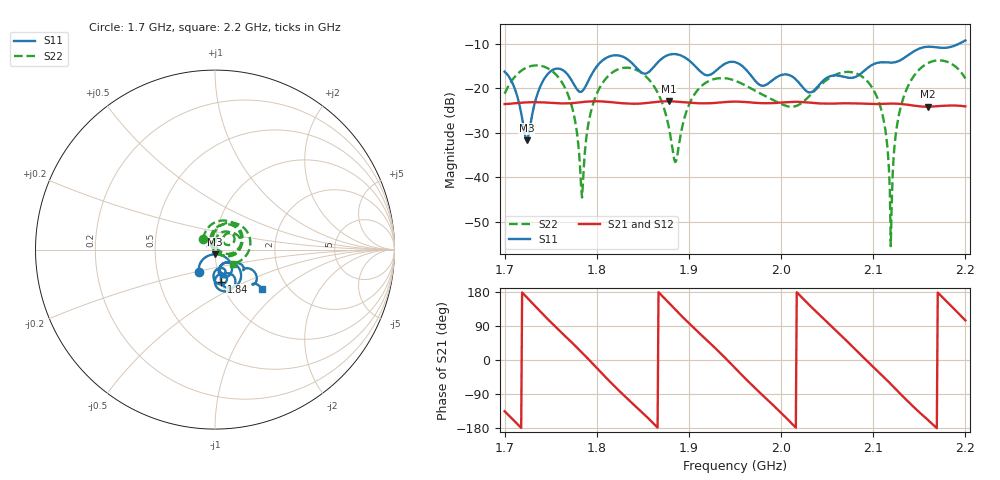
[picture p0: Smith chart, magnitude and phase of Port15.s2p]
# Hz S RI R 50
! CMT, CMT808U, 21440046, 21.4.3/4
! Date: 12/13/2025 11:01:59 PM
! Data: Format (Calibration Info)
! Freq	S11:Re/Im(F2)	S41:Re/Im(F2)	S14:Re/Im(F2)	S44:Re/Im(F2)
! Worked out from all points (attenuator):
!   501 points, 1.7 GHz to 2.2 GHz, reference 50 ohm
!   highest |S21| = -22.94 dB at 1.878 GHz (marker M1); lowest = -24.2 dB at 2.159 GHz (marker M2)
!   lowest |S11| = -31.7 dB at 1.724 GHz (marker M3), VSWR 1.05, Z = 50 - j2.6 ohm
!   |S11| at or under -10 dB: start of sweep to 2.193 GHz
!   |S22| runs from -55.5 to -13.8 dB; largest |S21 - S12| = 0.00036
!   S11 on the Smith chart (normalised r, x): 1.7 GHz: 0.82, -0.21; 1.84 GHz: 1.00, -0.37; 2.2 GHz: 1.49, -0.75
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1.7e9  -0.087 -0.1261  -0.0472 -0.0467  -0.0469 -0.0466  -0.0643 0.0582
1.724e9  0.000189 -0.026  -0.0671 0.0173  -0.067 0.0171  0.0531 0.1622
1.743e9  0.0922 -0.0879  -0.0318 0.0615  -0.0318 0.0612  0.1492 0.0897
1.766e9  0.0337 -0.1476  0.0313 0.0596  0.0312 0.0595  0.0941 -0.0295
1.776e9  0.023 -0.1044  0.0531 0.043  0.0529 0.043  0.0342 -0.0302
1.784e9  0.0545 -0.0744  0.0657 0.0235  0.0655 0.0236  -0.00484 -0.00342
1.801e9  0.1394 -0.1148  0.0652 -0.0286  0.0652 -0.0284  -0.0182 0.0895
1.84e9  0.034 -0.18  -0.0308 -0.0593  -0.0306 -0.0593  0.1457 0.0773
1.867e9  0.1122 -0.1639  -0.0706 0.0012  -0.0705 0.001  0.0821 -0.0229
1.878e9  0.0983 -0.2152  -0.0624 0.0345  -0.0623 0.0342  0.0346 -0.014
1.886e9  0.0631 -0.2324  -0.0463 0.0534  -0.0465 0.0532  0.011 0.0104
1.908e9  -0.00069 -0.1714  0.0136 0.0664  0.0135 0.0663  0.0245 0.0879
1.95e9  0.0286 -0.1939  0.0661 -0.0254  0.066 -0.0252  0.1085 0.0551
2.034e9  0.0556 -0.0725  -0.0502 0.0466  -0.0503 0.0464  0.049 0.0733
2.094e9  0.1474 -0.083  0.0665 -0.00497  0.0664 -0.00468  0.116 -0.0239
2.11e9  0.159 -0.1137  0.0498 -0.0442  0.05 -0.0441  0.0397 -0.0315
2.117e9  0.1571 -0.1138  0.0351 -0.0572  0.0352 -0.057  0.00863 -0.00924
2.12e9  0.1587 -0.1111  0.0276 -0.0613  0.0277 -0.0611  -0.00143 0.00444
2.125e9  0.1663 -0.1061  0.0136 -0.0657  0.0138 -0.0656  -0.0121 0.0312
2.133e9  0.1896 -0.105  -0.00935 -0.0654  -0.00911 -0.0654  -0.0104 0.0789
2.159e9  0.2263 -0.1841  -0.0572 -0.0237  -0.0571 -0.0239  0.1252 0.1432
2.2e9  0.2625 -0.2214  -0.0157 0.0605  -0.0159 0.0604  0.1021 -0.0779
